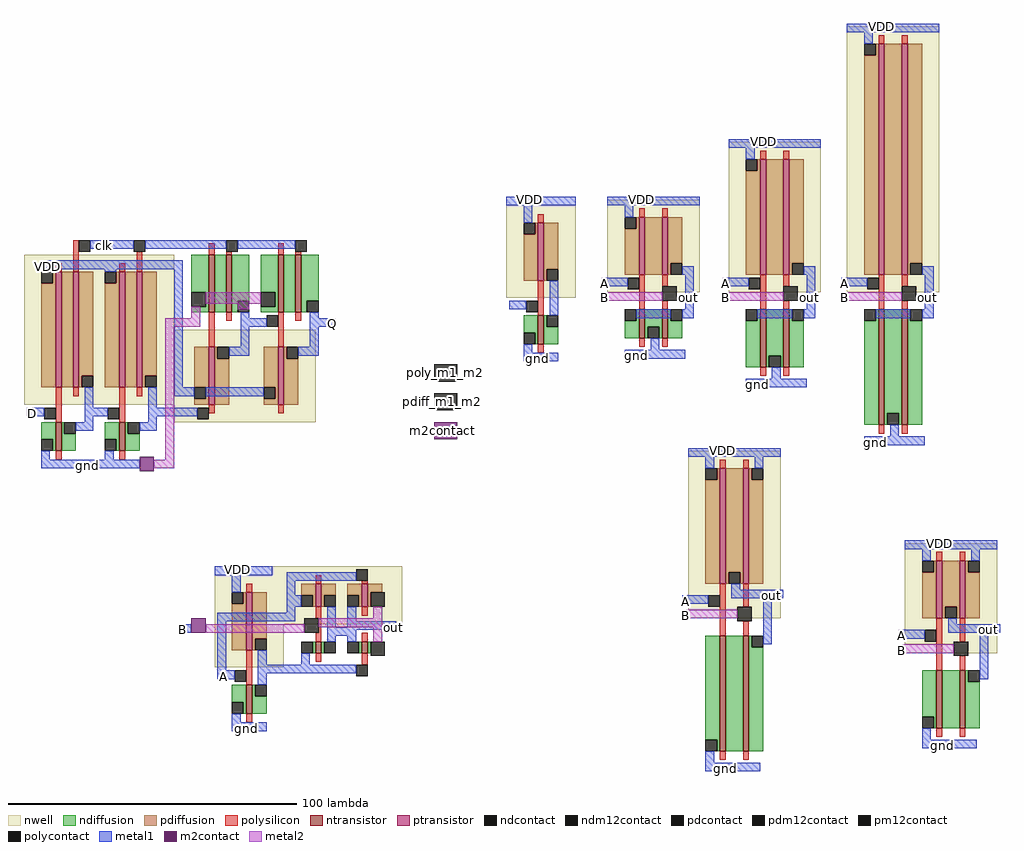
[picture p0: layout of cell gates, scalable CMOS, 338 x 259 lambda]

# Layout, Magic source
magic
tech scmos
<< nwell >>
rect -209 29 -157 55
rect -42 40 -18 72
rect -7 42 25 74
rect 35 42 67 94
rect 76 42 108 134
rect -209 3 -108 29
rect -157 -3 -108 3
rect -123 -56 -78 -53
rect -143 -73 -78 -56
rect 21 -68 53 -13
rect 38 -71 53 -68
rect -143 -88 -119 -73
rect 96 -80 128 -45
rect 113 -83 128 -80
<< ntransistor >>
rect -145 35 -143 55
rect -139 35 -137 55
rect -121 35 -119 55
rect -115 35 -113 55
rect -31 24 -29 34
rect 4 26 6 36
rect 12 26 14 36
rect 46 16 48 36
rect 54 16 56 36
rect -198 -13 -196 -3
rect -176 -13 -174 -3
rect 87 -4 89 36
rect 95 -4 97 36
rect -108 -83 -106 -79
rect -92 -83 -90 -79
rect -132 -104 -130 -94
rect 32 -117 34 -77
rect 40 -117 42 -77
rect 107 -109 109 -89
rect 115 -109 117 -89
<< ptransistor >>
rect -198 9 -196 49
rect -192 9 -190 49
rect -176 9 -174 49
rect -170 9 -168 49
rect -31 46 -29 66
rect 4 48 6 68
rect 12 48 14 68
rect 46 48 48 88
rect 54 48 56 88
rect 87 48 89 128
rect 95 48 97 128
rect -145 3 -143 23
rect -121 3 -119 23
rect 32 -59 34 -19
rect 40 -59 42 -19
rect -132 -82 -130 -62
rect -108 -67 -106 -59
rect -92 -67 -90 -59
rect 107 -71 109 -51
rect 115 -71 117 -51
<< ndiffusion >>
rect -151 42 -145 55
rect -146 37 -145 42
rect -151 35 -145 37
rect -143 35 -139 55
rect -137 39 -131 55
rect -137 35 -135 39
rect -127 42 -121 55
rect -122 37 -121 42
rect -127 35 -121 37
rect -119 35 -115 55
rect -113 39 -107 55
rect -113 35 -111 39
rect -36 28 -31 34
rect -32 24 -31 28
rect -29 30 -28 34
rect -29 24 -24 30
rect 3 32 4 36
rect -1 26 4 32
rect 6 30 12 36
rect 6 26 7 30
rect 11 26 12 30
rect 14 32 15 36
rect 14 26 19 32
rect 45 32 46 36
rect 41 16 46 32
rect 48 20 54 36
rect 48 16 49 20
rect 53 16 54 20
rect 56 32 57 36
rect 56 16 61 32
rect 86 32 87 36
rect -203 -9 -198 -3
rect -199 -13 -198 -9
rect -196 -7 -195 -3
rect -196 -13 -191 -7
rect -181 -9 -176 -3
rect -177 -13 -176 -9
rect -174 -7 -173 -3
rect 82 -4 87 32
rect 89 0 95 36
rect 89 -4 90 0
rect 94 -4 95 0
rect 97 32 98 36
rect 97 -4 102 32
rect -174 -13 -169 -7
rect -109 -83 -108 -79
rect -106 -83 -105 -79
rect -93 -83 -92 -79
rect -90 -83 -89 -79
rect -137 -100 -132 -94
rect -133 -104 -132 -100
rect -130 -98 -129 -94
rect -130 -104 -125 -98
rect 27 -113 32 -77
rect 31 -117 32 -113
rect 34 -117 40 -77
rect 42 -81 43 -77
rect 42 -117 47 -81
rect 102 -105 107 -89
rect 106 -109 107 -105
rect 109 -109 115 -89
rect 117 -93 118 -89
rect 117 -109 122 -93
<< pdiffusion >>
rect 86 124 87 128
rect 45 84 46 88
rect -32 62 -31 66
rect -199 45 -198 49
rect -203 9 -198 45
rect -196 9 -192 49
rect -190 13 -185 49
rect -190 9 -189 13
rect -177 45 -176 49
rect -181 9 -176 45
rect -174 9 -170 49
rect -168 13 -163 49
rect -36 46 -31 62
rect -29 50 -24 66
rect -29 46 -28 50
rect 3 64 4 68
rect -1 48 4 64
rect 6 48 12 68
rect 14 52 19 68
rect 14 48 15 52
rect 41 48 46 84
rect 48 48 54 88
rect 56 52 61 88
rect 56 48 57 52
rect 82 48 87 124
rect 89 48 95 128
rect 97 52 102 128
rect 97 48 98 52
rect -168 9 -167 13
rect -150 9 -145 23
rect -146 5 -145 9
rect -150 3 -145 5
rect -143 19 -142 23
rect -143 3 -138 19
rect -126 9 -121 23
rect -122 5 -121 9
rect -126 3 -121 5
rect -119 19 -118 23
rect -119 3 -114 19
rect 31 -23 32 -19
rect 27 -59 32 -23
rect 34 -55 40 -19
rect 34 -59 35 -55
rect 39 -59 40 -55
rect 42 -23 43 -19
rect 42 -59 47 -23
rect 106 -55 107 -51
rect -133 -66 -132 -62
rect -137 -82 -132 -66
rect -130 -78 -125 -62
rect -113 -63 -108 -59
rect -109 -67 -108 -63
rect -106 -63 -101 -59
rect -106 -67 -105 -63
rect -97 -63 -92 -59
rect -93 -67 -92 -63
rect -90 -62 -85 -59
rect -90 -67 -89 -62
rect -130 -82 -129 -78
rect 102 -71 107 -55
rect 109 -67 115 -51
rect 109 -71 110 -67
rect 114 -71 115 -67
rect 117 -55 118 -51
rect 117 -71 122 -55
<< ndcontact >>
rect -135 35 -131 39
rect -111 35 -107 39
rect -36 24 -32 28
rect -28 30 -24 34
rect -1 32 3 36
rect 7 26 11 30
rect 15 32 19 36
rect 41 32 45 36
rect 49 16 53 20
rect 57 32 61 36
rect 82 32 86 36
rect -203 -13 -199 -9
rect -195 -7 -191 -3
rect -181 -13 -177 -9
rect -173 -7 -169 -3
rect 90 -4 94 0
rect 98 32 102 36
rect -113 -83 -109 -79
rect -105 -83 -101 -79
rect -97 -83 -93 -79
rect -137 -104 -133 -100
rect -129 -98 -125 -94
rect 27 -117 31 -113
rect 43 -81 47 -77
rect 102 -109 106 -105
rect 118 -93 122 -89
<< pdcontact >>
rect 82 124 86 128
rect 41 84 45 88
rect -36 62 -32 66
rect -203 45 -199 49
rect -189 9 -185 13
rect -181 45 -177 49
rect -28 46 -24 50
rect -1 64 3 68
rect 15 48 19 52
rect 57 48 61 52
rect 98 48 102 52
rect -167 9 -163 13
rect -150 5 -146 9
rect -142 19 -138 23
rect -126 5 -122 9
rect -118 19 -114 23
rect 27 -23 31 -19
rect 35 -59 39 -55
rect 43 -23 47 -19
rect 102 -55 106 -51
rect -137 -66 -133 -62
rect -113 -67 -109 -63
rect -105 -67 -101 -63
rect -97 -67 -93 -63
rect -129 -82 -125 -78
rect 110 -71 114 -67
rect 118 -55 122 -51
<< polysilicon >>
rect 87 128 89 131
rect 95 128 97 131
rect 46 88 48 91
rect 54 88 56 91
rect -31 66 -29 69
rect 4 68 6 71
rect 12 68 14 71
rect -198 49 -196 52
rect -192 49 -190 60
rect -176 49 -174 52
rect -170 49 -168 56
rect -145 55 -143 59
rect -139 55 -137 56
rect -121 55 -119 59
rect -115 55 -113 56
rect -145 23 -143 35
rect -139 32 -137 35
rect -121 23 -119 35
rect -115 32 -113 35
rect -31 34 -29 46
rect 4 36 6 48
rect 12 44 14 48
rect 12 36 14 39
rect 46 36 48 48
rect 54 44 56 48
rect 54 36 56 39
rect 87 36 89 48
rect 95 44 97 48
rect 95 36 97 39
rect -198 -3 -196 9
rect -192 6 -190 9
rect -176 -3 -174 9
rect -170 6 -168 9
rect -31 21 -29 24
rect 4 23 6 26
rect 12 23 14 26
rect 46 13 48 16
rect 54 13 56 16
rect -145 0 -143 3
rect -121 0 -119 3
rect 87 -7 89 -4
rect 95 -7 97 -4
rect -198 -16 -196 -13
rect -176 -16 -174 -13
rect 32 -19 34 -16
rect 40 -19 42 -16
rect -108 -59 -106 -56
rect -92 -59 -90 -58
rect 107 -51 109 -48
rect 115 -51 117 -48
rect -132 -62 -130 -59
rect -108 -71 -106 -67
rect -92 -70 -90 -67
rect -107 -76 -106 -71
rect -108 -79 -106 -76
rect -92 -79 -90 -76
rect 32 -77 34 -59
rect 40 -67 42 -59
rect 40 -77 42 -72
rect -132 -94 -130 -82
rect -108 -86 -106 -83
rect -92 -87 -90 -83
rect -132 -107 -130 -104
rect 107 -89 109 -71
rect 115 -79 117 -71
rect 115 -89 117 -84
rect 107 -112 109 -109
rect 115 -112 117 -109
rect 32 -120 34 -117
rect 40 -120 42 -117
<< polycontact >>
rect -190 56 -186 60
rect -171 56 -167 60
rect -139 56 -135 60
rect -115 56 -111 60
rect -35 35 -31 39
rect -125 30 -121 34
rect 0 43 4 47
rect 42 43 46 47
rect 83 43 87 47
rect -202 -2 -198 2
rect -180 -2 -176 2
rect -149 -2 -145 2
rect -94 -58 -90 -54
rect 28 -67 32 -63
rect -136 -93 -132 -89
rect -94 -91 -90 -87
rect 103 -79 107 -75
<< metal1 >>
rect 76 132 108 135
rect 82 128 85 132
rect 35 92 67 95
rect 41 88 44 92
rect -42 72 -18 75
rect -7 72 25 75
rect -36 66 -33 72
rect -1 68 2 72
rect -186 57 -171 60
rect -167 57 -139 60
rect -135 57 -115 60
rect -202 50 -154 53
rect -202 49 -199 50
rect -181 49 -177 50
rect -188 2 -185 9
rect -166 2 -163 9
rect -157 9 -154 50
rect 19 48 23 51
rect 61 48 65 51
rect 102 48 106 51
rect -41 36 -35 39
rect -134 33 -131 35
rect -134 30 -125 33
rect -110 33 -107 35
rect -27 34 -24 46
rect -9 44 0 47
rect 20 36 23 48
rect 33 44 42 47
rect 62 36 65 48
rect 74 44 83 47
rect 103 36 106 48
rect -110 30 -101 33
rect 3 33 15 36
rect 19 33 23 36
rect 45 33 57 36
rect 61 33 65 36
rect 86 33 98 36
rect 102 33 106 36
rect -134 23 -131 30
rect -110 23 -107 30
rect -138 20 -131 23
rect -114 20 -107 23
rect -36 21 -33 24
rect 8 22 11 26
rect -36 18 -24 21
rect -1 19 20 22
rect 50 12 53 16
rect 41 9 62 12
rect -157 6 -150 9
rect -146 6 -126 9
rect -208 -1 -202 2
rect -188 -1 -180 2
rect -188 -3 -185 -1
rect -166 -1 -149 2
rect -166 -3 -163 -1
rect -191 -6 -185 -3
rect -169 -6 -163 -3
rect 91 -8 94 -4
rect 82 -11 103 -8
rect -203 -16 -200 -13
rect -181 -16 -178 -13
rect 21 -15 53 -12
rect -203 -19 -169 -16
rect 27 -19 30 -15
rect 44 -19 47 -15
rect 96 -47 128 -44
rect 102 -51 105 -47
rect 119 -51 122 -47
rect -143 -56 -123 -53
rect -137 -62 -134 -56
rect -118 -58 -94 -55
rect -118 -63 -115 -58
rect 36 -61 39 -59
rect -118 -67 -113 -63
rect -118 -69 -115 -67
rect -155 -76 -151 -73
rect -142 -72 -115 -69
rect -142 -89 -139 -72
rect -104 -74 -101 -67
rect 19 -66 28 -63
rect 36 -64 54 -61
rect -97 -72 -94 -67
rect -97 -74 -80 -72
rect -104 -75 -80 -74
rect -104 -77 -94 -75
rect -104 -79 -101 -77
rect -128 -87 -125 -82
rect -97 -79 -94 -77
rect -113 -87 -110 -83
rect 47 -80 50 -64
rect 111 -73 114 -71
rect 94 -78 103 -75
rect 111 -76 129 -73
rect -142 -92 -136 -89
rect -128 -90 -94 -87
rect -128 -94 -125 -90
rect 122 -92 125 -76
rect -137 -107 -134 -104
rect -137 -110 -125 -107
rect 102 -113 105 -109
rect 102 -116 121 -113
rect 27 -121 30 -117
rect 27 -124 46 -121
<< m2contact >>
rect -67 -9 -59 -3
rect -169 -20 -164 -15
rect -151 -76 -146 -71
<< pm12contact >>
rect 12 39 17 44
rect 54 39 59 44
rect 95 39 100 44
rect -67 11 -59 17
rect -112 -76 -107 -71
rect 38 -72 43 -67
rect 113 -84 118 -79
<< pdm12contact >>
rect -67 1 -59 7
rect -89 -67 -84 -62
<< ndm12contact >>
rect -151 37 -146 42
rect -127 37 -122 42
rect -89 -84 -84 -79
<< metal2 >>
rect -146 38 -127 42
rect -151 33 -148 37
rect -135 36 -131 38
rect -9 39 12 42
rect 33 39 54 42
rect 74 39 95 42
rect -160 30 -148 33
rect -160 -16 -157 30
rect -164 -19 -157 -16
rect -88 -71 -85 -67
rect 19 -71 38 -68
rect -146 -76 -112 -73
rect -107 -74 -85 -71
rect -88 -79 -85 -74
rect 94 -83 113 -80
<< labels >>
rlabel metal1 -201 51 -201 51 1 VDD
rlabel metal1 -181 58 -181 58 5 clk
rlabel pm12contact -63 14 -63 14 7 poly_m1_m2
rlabel pdm12contact -64 4 -64 4 7 pdiff_m1_m2
rlabel m2contact -64 -6 -64 -6 7 m2contact
rlabel metal1 -206 0 -206 0 3 D
rlabel metal1 -102 31 -102 31 1 Q
rlabel metal1 -187 -18 -187 -18 1 gnd
rlabel metal1 -34 74 -34 74 5 VDD
rlabel metal1 -31 19 -31 19 1 gnd
rlabel metal1 21 40 21 40 7 out
rlabel metal2 -8 40 -8 40 3 B
rlabel metal1 -8 45 -8 45 3 A
rlabel metal1 5 74 5 74 5 VDD
rlabel metal1 3 20 3 20 1 gnd
rlabel metal1 63 40 63 40 7 out
rlabel metal2 34 40 34 40 3 B
rlabel metal1 34 45 34 45 3 A
rlabel metal1 47 94 47 94 5 VDD
rlabel metal1 45 10 45 10 1 gnd
rlabel metal1 104 40 104 40 7 out
rlabel metal2 75 40 75 40 3 B
rlabel metal1 75 45 75 45 3 A
rlabel metal1 88 134 88 134 5 VDD
rlabel metal1 86 -10 86 -10 1 gnd
rlabel metal1 33 -13 33 -13 5 VDD
rlabel metal2 20 -70 20 -70 3 B
rlabel metal1 20 -65 20 -65 3 A
rlabel metal1 34 -123 34 -123 1 gnd
rlabel metal1 50 -63 50 -63 1 out
rlabel metal2 95 -82 95 -82 3 B
rlabel metal1 95 -77 95 -77 3 A
rlabel metal1 125 -75 125 -75 1 out
rlabel metal1 108 -45 108 -45 5 VDD
rlabel metal1 109 -115 109 -115 1 gnd
rlabel metal1 -135 -54 -135 -54 5 VDD
rlabel metal1 -132 -109 -132 -109 1 gnd
rlabel metal1 -154 -75 -154 -75 1 B
rlabel metal1 -140 -91 -140 -91 1 A
rlabel metal1 -81 -74 -81 -74 1 out
<< end >>
